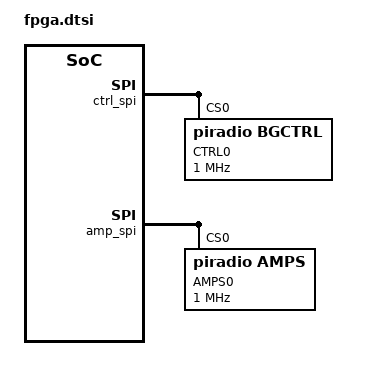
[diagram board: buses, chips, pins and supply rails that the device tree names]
&pl_gpio {
	 gpio-line-names = 
	   "PWR_ENABLE", "PROGRAMN", "JTAGEN", "AMPCH0",
	   "AMPCH1", "AMPCH2", "AMPCH3", "AMPCH4",
	   "AMPCH5", "AMPCH6", "AMPCH7", "AMPCS0",
	   "AMPCS1", "AMPCS2", "PWREN0", "PWREN1",
	   "PWREN2", "PWREN3", "PWREN4", "PWREN5",
	   "PWREN6", "PWREN7", "R3", "P9",
	   "R12", "R6", "RFDCRST", "",
	   "", "", "", "",

	   "INITN", "DONE", "P8", "R4",
	   "P7", "T3", "LOCKED", "IN_STOPPED",
	   "FB_STOPPED", "RFDC_RESETN", "", "",
	   "", "", "", "",
	   "", "", "", "",
	   "", "", "", "",
	   "", "", "", "",
	   "", "", "", "";

	 xlnx,dout-default = <0x00000006>;
	 xlnx,all-outputs = <0xFFFFFFFF>;
	 xlnx,all-outputs2 = <0x0000000>;
	 xlnx,all-inputs = <0x0000000>;
	 xlnx,all-inputs2 = <0xFFFFFFFF>;
	 xlnx,tri-default = <0x00000000>;
	 xlnx,tri-default2 = <0xFFFFFFFF>;
};

&ctrl_spi {
     CTRL0@0 {
         compatible = "piradio,bgctrl";
	 reg = <0>;
	 spi-max-frequency = <1000000>;
     };
};

&amp_spi {
     AMPS0@0 {
         compatible = "piradio,amps";
	 reg = <0>;
	 spi-max-frequency = <1000000>;
     };
};

&samples_in0 {
    sample-direction = "in";
    sample-buffer-no = <0>;
};

&samples_in1 {
    sample-direction = "in";
    sample-buffer-no = <1>;
};

&samples_in2 {
    sample-direction = "in";
    sample-buffer-no = <2>;
};

&samples_in3 {
    sample-direction = "in";
    sample-buffer-no = <3>;
};

&samples_in4 {
    sample-direction = "in";
    sample-buffer-no = <4>;
};

&samples_in5 {
    sample-direction = "in";
    sample-buffer-no = <5>;
};

&samples_in6 {
    sample-direction = "in";
    sample-buffer-no = <6>;
};

&samples_in7 {
    sample-direction = "in";
    sample-buffer-no = <7>;
};

/ {
  fragment {
     target-path = "/";
     overlay_piradio: __overlay__ {
       piradio-image = "piradio-Betelgeuse-NRT";

       piradio_nrt {
	   compatible = "piradio,NRT";
	   status="okay";
       };

       piradio_Betelgeuse {
	   compatible = "piradio,Betelgeuse";
	   status="okay";
       };

       piradio_ZCU111_config {
           reference_freq = "102.4MHz";
	   mts_enabled = "True";
           LMX_A_freq0 = "4096MHz";
           LMX_A_freq1 = "4096MHz";
           LMX_B_freq0 = "4096MHz";
           LMX_B_freq1 = "4096MHz";
           LMX_C_freq0 = "4096MHz";
           LMX_C_freq1 = "4096MHz";
       };
     };
  };
};
